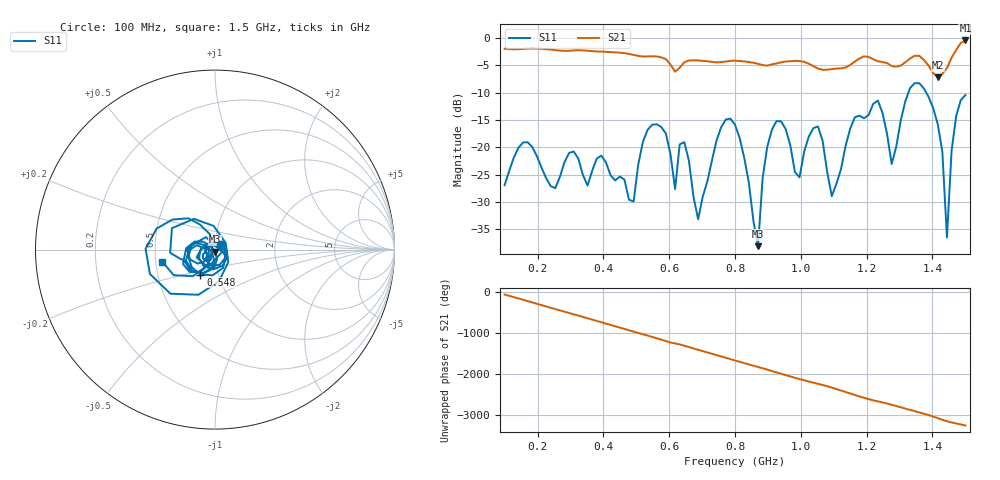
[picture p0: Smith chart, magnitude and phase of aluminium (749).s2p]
! NanoVNA-App
! Date: 2025-09-25 15:01:07
! Start: 100MHz Stop: 1,5GHz Points: 101
! S-Parameter data: F S11 S21 S12 S22
# Hz S RI R 50
!  Frequency  S11_Real  S11_Imag  S21_Real  S21_Imag  S12_Real  S12_Imag  S22_Real  S22_Imag
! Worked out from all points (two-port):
!   101 points, 100 MHz to 1.5 GHz, reference 50 ohm
!   highest |S21| = -0.41 dB at 1.5 GHz (marker M1); lowest = -7.1 dB at 1.416 GHz (marker M2)
!   |S21| within 3 dB of the highest: start of sweep to 567.8 MHz; 1.459 GHz to end of sweep (the widest 2 of 4)
!   lowest |S11| = -38.1 dB at 870 MHz (marker M3), VSWR 1.03, Z = 50.1 - j1.24 ohm
!   |S11| at or under -10 dB: start of sweep to 1.327 GHz; 1.381 GHz to end of sweep
!   S12 and S22 are empty: the file has one direction only
!   S11 on the Smith chart (normalised r, x): 100 MHz: 1.07, +0.06; 548 MHz: 0.82, -0.23; 1.5 GHz: 0.54, -0.08
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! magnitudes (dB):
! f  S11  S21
! 100 MHz  -27.0  -1.9
! 156 MHz  -19.1  -2.0
! 338 MHz  -25.1  -2.2
! 492 MHz  -30.0  -3.1
! 548 MHz  -15.9  -3.3
! 576 MHz  -16.3  -3.5
! 618 MHz  -27.7  -6.1
! 646 MHz  -19.1  -4.4
! 688 MHz  -33.2  -4.1
! 800 MHz  -15.9  -4.1
! 870 MHz  -38.1  -4.7
! 912 MHz  -16.8  -4.8
! 996 MHz  -25.5  -4.2
! 1.038 GHz  -16.5  -5.1
! 1.094 GHz  -29.0  -5.7
! 1.234 GHz  -11.4  -4.2
! 1.276 GHz  -23.1  -5.1
! 1.346 GHz  -8.2  -3.2
! 1.416 GHz  -15.7  -7.1
! 1.444 GHz  -36.5  -5.5
! 1.458 GHz  -20.7  -3.6
! 1.5 GHz  -10.4  -0.4
